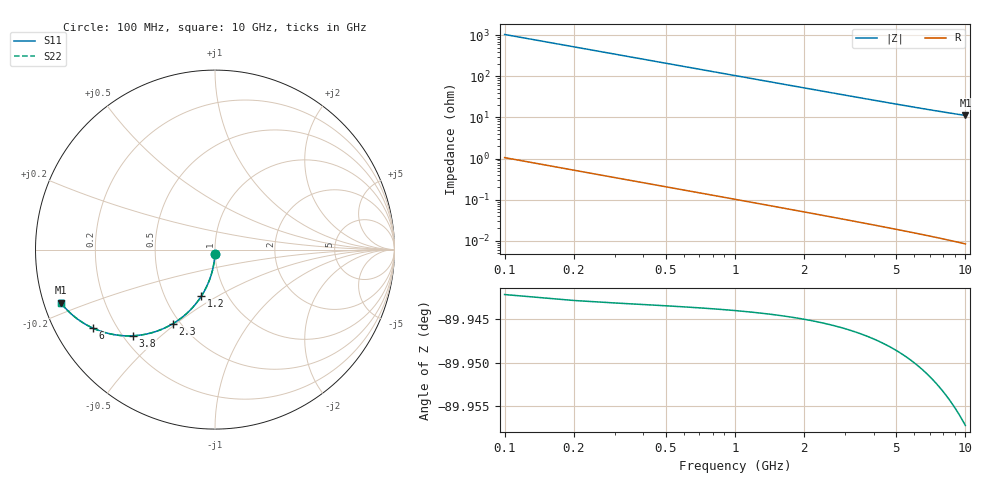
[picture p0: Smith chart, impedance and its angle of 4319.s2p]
# Hz S RI R 50.00
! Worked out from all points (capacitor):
!   100 points, 100 MHz to 10 GHz, reference 50 ohm
!   read as one part in shunt: C = 1.52 pF near 100 MHz
!   lowest |Z| = 11.2 ohm at 10 GHz (marker M1)
!   S11 on the Smith chart (normalised r, x): 100 MHz: 1.00, -0.05; 1.2 GHz: 0.76, -0.42; 2.3 GHz: 0.46, -0.49; 3.8 GHz: 0.24, -0.41; 6 GHz: 0.11, -0.29; 10 GHz: 0.05, -0.17
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1e8  -0.00051 -0.0234  0.9993 -0.0243  0.9993 -0.0243  -0.00051 -0.0234
2e8  -0.00224 -0.0468  0.9976 -0.0486  0.9976 -0.0486  -0.00224 -0.0468
3e8  -0.0051 -0.07  0.9947 -0.0727  0.9947 -0.0727  -0.0051 -0.07
4e8  -0.00906 -0.0929  0.9908 -0.0965  0.9908 -0.0965  -0.00906 -0.0929
5e8  -0.0141 -0.1155  0.9857 -0.1201  0.9857 -0.1201  -0.0141 -0.1155
6e8  -0.0202 -0.1378  0.9796 -0.1432  0.9796 -0.1432  -0.0202 -0.1378
7e8  -0.0273 -0.1596  0.9725 -0.1659  0.9725 -0.1659  -0.0273 -0.1596
9e8  -0.0444 -0.2015  0.9554 -0.2097  0.9554 -0.2097  -0.0444 -0.2015
1.2e9  -0.0763 -0.2597  0.9235 -0.2706  0.9235 -0.2706  -0.0763 -0.2597
1.5e9  -0.1144 -0.3111  0.8854 -0.3247  0.8854 -0.3247  -0.1144 -0.3111
1.8e9  -0.1569 -0.3552  0.8428 -0.3716  0.8428 -0.3716  -0.1569 -0.3552
2.3e9  -0.2335 -0.4121  0.7661 -0.4332  0.7661 -0.4332  -0.2335 -0.4121
2.8e9  -0.3115 -0.4499  0.6879 -0.4756  0.6879 -0.4756  -0.3115 -0.4499
3.4e9  -0.4011 -0.474  0.5982 -0.5053  0.5982 -0.5053  -0.4011 -0.474
3.8e9  -0.4561 -0.4801  0.5431 -0.5151  0.5431 -0.5151  -0.4561 -0.4801
4.4e9  -0.5304 -0.4781  0.4686 -0.5189  0.4686 -0.5189  -0.5304 -0.4781
5.1e9  -0.604 -0.4646  0.3946 -0.5122  0.3946 -0.5122  -0.604 -0.4646
6e9  -0.6802 -0.4373  0.318 -0.4937  0.318 -0.4937  -0.6802 -0.4373
6.7e9  -0.7275 -0.4125  0.2703 -0.4758  0.2703 -0.4758  -0.7275 -0.4125
7.5e9  -0.7711 -0.3829  0.2261 -0.4544  0.2261 -0.4544  -0.7711 -0.3829
8.4e9  -0.8099 -0.35  0.1866 -0.4308  0.1866 -0.4308  -0.8099 -0.35
1e10  -0.8597 -0.2951  0.1353 -0.3931  0.1353 -0.3931  -0.8597 -0.2951
